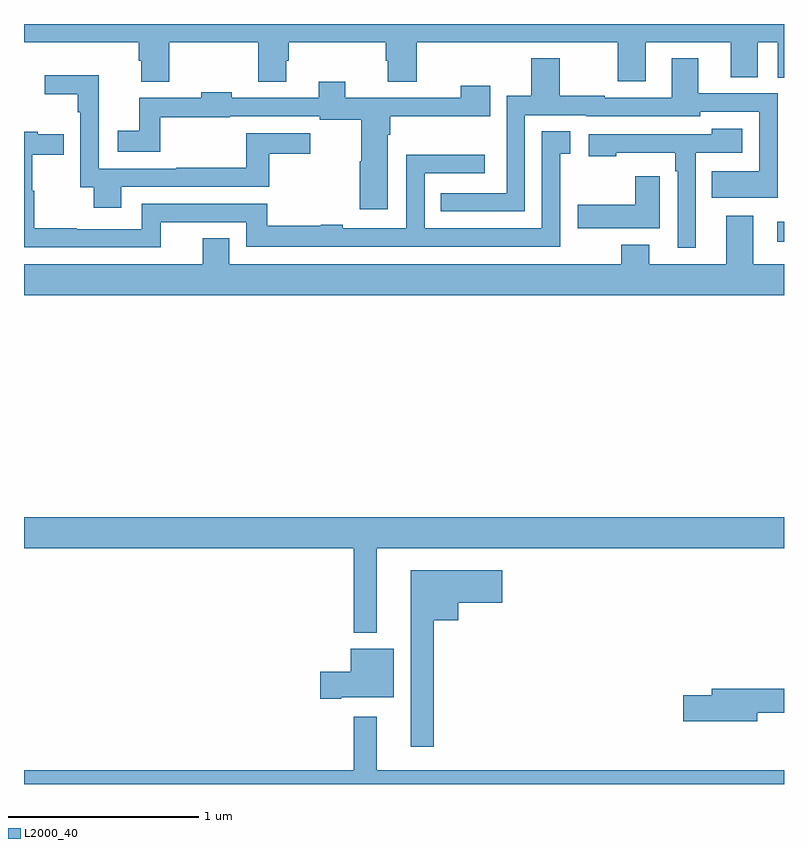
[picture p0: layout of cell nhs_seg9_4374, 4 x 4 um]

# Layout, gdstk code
import gdstk
lib = gdstk.Library(unit=1e-6, precision=1e-09)
def R(c, l, rs):  # rectangles x0, y0, x1, y1
    for r in rs: c.add(gdstk.rectangle(r[:2], r[2:], *l))
def P(c, l, *ps):  # polygons
    for p in ps: c.add(gdstk.Polygon(p, *l))
L2000_40 = (2000, 40)

nhs_seg9_4374 = lib.new_cell('nhs_seg9_4374')
R(nhs_seg9_4374, L2000_40, [(364.965,1211.354,365,1211.458)])
P(nhs_seg9_4374, L2000_40, [(361.764,1212.404),(362.233,1212.404),(362.233,1212.196),(362.38,1212.196),(362.38,1212.306),(362.393,1212.306),(362.393,1212.404),(362.903,1212.404),(362.903,1212.306),(362.915,1212.306),(362.915,1212.196),(363.068,1212.196),(363.068,1212.404),(364.126,1212.404),(364.126,1212.198),(364.273,1212.198),(364.273,1212.404),(364.721,1212.404),(364.721,1212.22),(364.861,1212.22),(364.861,1212.404),(364.968,1212.404),(364.968,1212.216),(365,1212.216),(365,1212.5),(361,1212.5),(361,1212.404),(361.604,1212.404),(361.604,1212.306),(361.616,1212.306),(361.616,1212.196),(361.764,1212.196)],
  [(363.636,1212.021),(363.96,1212.021),(363.96,1212.015),(364.56,1212.015),(364.56,1212.039),(364.869,1212.039),(364.869,1211.725),(364.621,1211.725),(364.621,1211.585),(364.967,1211.585),(364.967,1212.135),(364.549,1212.135),(364.549,1212.319),(364.409,1212.319),(364.409,1212.111),(364.056,1212.111),(364.056,1212.122),(363.819,1212.122),(363.819,1212.319),(363.671,1212.319),(363.671,1212.122),(363.54,1212.122),(363.54,1211.61),(363.193,1211.61),(363.193,1211.514),(363.636,1211.514)],
  [(361.513,1211.643),(362.29,1211.643),(362.29,1211.817),(362.506,1211.817),(362.506,1211.925),(362.169,1211.925),(362.169,1211.744),(361.801,1211.744),(361.801,1211.739),(361.394,1211.739),(361.394,1212.229),(361.11,1212.229),(361.11,1212.131),(361.284,1212.131),(361.284,1212.035),(361.296,1212.035),(361.296,1211.641),(361.366,1211.641),(361.366,1211.534),(361.513,1211.534)],
  [(362.914,1211.918),(362.927,1211.918),(362.927,1212.014),(363.347,1212.014),(363.347,1212.015),(363.455,1212.015),(363.455,1212.175),(363.299,1212.175),(363.299,1212.111),(362.692,1212.111),(362.692,1212.196),(362.552,1212.196),(362.552,1212.111),(362.094,1212.111),(362.094,1212.142),(361.934,1212.142),(361.934,1212.111),(361.607,1212.111),(361.607,1211.938),(361.494,1211.938),(361.494,1211.828),(361.717,1211.828),(361.717,1212.01),(362.082,1212.01),(362.082,1212.015),(362.556,1212.015),(362.556,1211.995),(362.774,1211.995),(362.774,1211.778),(362.767,1211.778),(362.767,1211.526),(362.914,1211.526)],
  [(364.536,1211.823),(364.78,1211.823),(364.78,1211.95),(364.619,1211.95),(364.619,1211.919),(363.972,1211.919),(363.972,1211.804),(364.116,1211.804),(364.116,1211.823),(364.428,1211.823),(364.428,1211.726),(364.44,1211.726),(364.44,1211.322),(364.536,1211.322)],
  [(361.719,1211.457),(362.169,1211.457),(362.169,1211.328),(363.822,1211.328),(363.822,1211.818),(363.874,1211.818),(363.874,1211.936),(363.726,1211.936),(363.726,1211.424),(363.108,1211.424),(363.108,1211.715),(363.424,1211.715),(363.424,1211.813),(363.012,1211.813),(363.012,1211.424),(362.678,1211.424),(362.678,1211.444),(362.562,1211.444),(362.562,1211.437),(362.281,1211.437),(362.281,1211.553),(361.62,1211.553),(361.62,1211.421),(361.277,1211.421),(361.277,1211.424),(361.054,1211.424),(361.054,1211.622),(361.044,1211.622),(361.044,1211.811),(361.21,1211.811),(361.21,1211.921),(361.073,1211.921),(361.073,1211.932),(361,1211.932),(361,1211.325),(361.719,1211.325)],
  [(364.345,1211.698),(364.216,1211.698),(364.216,1211.548),(363.915,1211.548),(363.915,1211.426),(364.345,1211.426)],
  [(365,1211.236),(364.837,1211.236),(364.837,1211.491),(364.697,1211.491),(364.697,1211.236),(364.291,1211.236),(364.291,1211.338),(364.144,1211.338),(364.144,1211.236),(362.08,1211.236),(362.08,1211.372),(361.94,1211.372),(361.94,1211.236),(361,1211.236),(361,1211.072),(365,1211.072)],
  [(362.857,1209.74),(365,1209.74),(365,1209.904),(361,1209.904),(361,1209.74),(362.736,1209.74),(362.736,1209.296),(362.857,1209.296)],
  [(363.157,1209.362),(363.286,1209.362),(363.286,1209.455),(363.517,1209.455),(363.517,1209.625),(363.035,1209.625),(363.035,1208.697),(363.157,1208.697)],
  [(362.671,1208.957),(362.947,1208.957),(362.947,1209.211),(362.72,1209.211),(362.72,1209.092),(362.559,1209.092),(362.559,1208.95),(362.671,1208.95)],
  [(364.858,1208.874),(365,1208.874),(365,1209.002),(364.619,1209.002),(364.619,1208.966),(364.47,1208.966),(364.47,1208.831),(364.858,1208.831)],
  [(365,1208.572),(362.857,1208.572),(362.857,1208.854),(362.736,1208.854),(362.736,1208.572),(361,1208.572),(361,1208.5),(365,1208.5)])

lib.write_gds('nhs_seg9_4374.gds')
